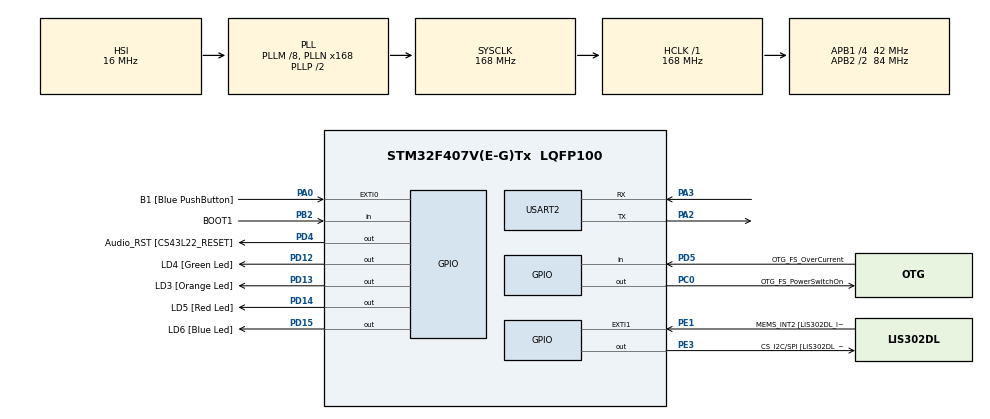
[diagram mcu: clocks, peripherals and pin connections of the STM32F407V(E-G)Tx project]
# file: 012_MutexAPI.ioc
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Mcu.Family=STM32F4
Mcu.Name=STM32F407V(E-G)Tx
Mcu.Package=LQFP100
NVIC.PriorityGroup=NVIC_PRIORITYGROUP_4
NVIC.TIM6_DAC_IRQn=true\:0\:0\:false\:false\:true\:false\:true\:true
NVIC.TimeBase=TIM6_DAC_IRQn
NVIC.TimeBaseIP=TIM6
NVIC.USART2_IRQn=true\:0\:0\:false\:false\:true\:true\:true\:true
PA0-WKUP.GPIO_Label=B1 [Blue PushButton]
PA0-WKUP.Signal=GPXTI0
PA10.GPIO_Label=OTG_FS_ID
PA10.GPIO_Mode=GPIO_MODE_AF_PP
PA10.GPIO_PuPd=GPIO_NOPULL
PA10.GPIO_Speed=GPIO_SPEED_FREQ_LOW
PA10.Signal=USB_OTG_FS_ID
PA11.GPIO_Label=OTG_FS_DM
PA11.GPIO_Mode=GPIO_MODE_AF_PP
PA11.GPIO_PuPd=GPIO_NOPULL
PA11.GPIO_Speed=GPIO_SPEED_FREQ_LOW
PA11.Signal=USB_OTG_FS_DM
PA12.GPIO_Label=OTG_FS_DP
PA12.GPIO_Mode=GPIO_MODE_AF_PP
PA12.GPIO_PuPd=GPIO_NOPULL
PA12.GPIO_Speed=GPIO_SPEED_FREQ_LOW
PA12.Signal=USB_OTG_FS_DP
PA13.GPIO_Label=SWDIO
PA13.Signal=SYS_JTMS-SWDIO
PA14.GPIO_Label=SWCLK
PA14.Signal=SYS_JTCK-SWCLK
PA2.Mode=Asynchronous
PA2.Signal=USART2_TX
PA3.Mode=Asynchronous
PA3.Signal=USART2_RX
PA4.GPIO_Label=I2S3_WS [CS43L22_LRCK]
PA4.GPIO_Mode=GPIO_MODE_AF_PP
PA4.GPIO_PuPd=GPIO_NOPULL
PA4.GPIO_Speed=GPIO_SPEED_FREQ_LOW
PA4.Signal=I2S3_WS
PA5.GPIO_Label=SPI1_SCK [LIS302DL_SCL/SPC]
PA5.GPIO_Mode=GPIO_MODE_AF_PP
PA5.GPIO_PuPd=GPIO_NOPULL
PA5.GPIO_Speed=GPIO_SPEED_FREQ_LOW
PA5.Signal=SPI1_SCK
PA6.GPIO_Label=SPI1_MISO [LIS302DL_SDO]
PA6.GPIO_Mode=GPIO_MODE_AF_PP
PA6.GPIO_PuPd=GPIO_NOPULL
PA6.GPIO_Speed=GPIO_SPEED_FREQ_LOW
PA6.Signal=SPI1_MISO
PA7.GPIO_Label=SPI1_MOSI [LIS302DL_SDA/SDI/SDO]
PA7.GPIO_Mode=GPIO_MODE_AF_PP
PA7.GPIO_PuPd=GPIO_NOPULL
PA7.GPIO_Speed=GPIO_SPEED_FREQ_LOW
PA7.Signal=SPI1_MOSI
PA9.GPIO_Label=VBUS_FS
PA9.GPIO_Mode=GPIO_MODE_INPUT
PA9.GPIO_PuPd=GPIO_NOPULL
PA9.Signal=USB_OTG_FS_VBUS
PB10.GPIO_Label=CLK_IN [MP45DT02_CLK]
PB10.GPIO_Mode=GPIO_MODE_AF_PP
PB10.GPIO_PuPd=GPIO_NOPULL
PB10.GPIO_Speed=GPIO_SPEED_FREQ_LOW
PB10.Signal=I2S2_CK
PB2.GPIO_Label=BOOT1
PB2.GPIO_Mode=GPIO_MODE_INPUT
PB2.GPIO_PuPd=GPIO_NOPULL
PB2.Signal=GPIO_Input
PB3.GPIO_Label=SWO
PB3.Signal=SYS_JTDO-SWO
PB6.GPIO_Label=Audio_SCL [CS43L22_SCL]
PB6.GPIO_Mode=GPIO_MODE_AF_OD
PB6.GPIO_PuPd=GPIO_NOPULL
PB6.GPIO_Speed=GPIO_SPEED_FREQ_LOW
PB6.Signal=I2C1_SCL
PB9.GPIO_Label=Audio_SDA [CS43L22_SDA]
PB9.GPIO_Mode=GPIO_MODE_AF_OD
PB9.GPIO_PuPd=GPIO_NOPULL
PB9.GPIO_Speed=GPIO_SPEED_FREQ_LOW
PB9.Signal=I2C1_SDA
PC0.GPIO_Label=OTG_FS_PowerSwitchOn
PC0.GPIO_PuPd=GPIO_NOPULL
PC0.GPIO_Speed=GPIO_SPEED_FREQ_LOW
PC0.PinState=GPIO_PIN_SET
PC0.Signal=GPIO_Output
PC10.GPIO_Label=I2S3_SCK [CS43L22_SCLK]
PC10.GPIO_Mode=GPIO_MODE_AF_PP
PC10.GPIO_PuPd=GPIO_NOPULL
PC10.GPIO_Speed=GPIO_SPEED_FREQ_LOW
PC10.Signal=I2S3_CK
PC12.GPIO_Label=I2S3_SD [CS43L22_SDIN]
PC12.GPIO_Mode=GPIO_MODE_AF_PP
PC12.GPIO_PuPd=GPIO_NOPULL
PC12.GPIO_Speed=GPIO_SPEED_FREQ_LOW
PC12.Signal=I2S3_SD
PC14-OSC32_IN.GPIO_Label=PC14-OSC32_IN
PC14-OSC32_IN.Signal=RCC_OSC32_IN
PC15-OSC32_OUT.GPIO_Label=PC15-OSC32_OUT
PC15-OSC32_OUT.Signal=RCC_OSC32_OUT
PC3.GPIO_Label=PDM_OUT [MP45DT02_DOUT]
PC3.GPIO_Mode=GPIO_MODE_AF_PP
PC3.GPIO_PuPd=GPIO_NOPULL
PC3.GPIO_Speed=GPIO_SPEED_FREQ_LOW
PC3.Signal=I2S2_SD
PC7.GPIO_Label=I2S3_MCK [CS43L22_MCLK]
PC7.GPIO_Mode=GPIO_MODE_AF_PP
PC7.GPIO_PuPd=GPIO_NOPULL
PC7.GPIO_Speed=GPIO_SPEED_FREQ_LOW
PC7.Signal=I2S3_MCK
PD12.GPIO_Label=LD4 [Green Led]
PD12.GPIO_PuPd=GPIO_NOPULL
PD12.GPIO_Speed=GPIO_SPEED_FREQ_LOW
PD12.Signal=GPIO_Output
PD13.GPIO_Label=LD3 [Orange Led]
PD13.GPIO_PuPd=GPIO_NOPULL
PD13.GPIO_Speed=GPIO_SPEED_FREQ_LOW
PD13.Signal=GPIO_Output
PD14.GPIO_Label=LD5 [Red Led]
PD14.GPIO_PuPd=GPIO_NOPULL
PD14.GPIO_Speed=GPIO_SPEED_FREQ_LOW
PD14.Signal=GPIO_Output
PD15.GPIO_Label=LD6 [Blue Led]
PD15.GPIO_PuPd=GPIO_NOPULL
PD15.GPIO_Speed=GPIO_SPEED_FREQ_LOW
PD15.Signal=GPIO_Output
PD4.GPIO_Label=Audio_RST [CS43L22_RESET]
PD4.GPIO_PuPd=GPIO_NOPULL
PD4.GPIO_Speed=GPIO_SPEED_FREQ_LOW
PD4.Signal=GPIO_Output
PD5.GPIO_Label=OTG_FS_OverCurrent
PD5.GPIO_Mode=GPIO_MODE_INPUT
PD5.GPIO_PuPd=GPIO_NOPULL
PD5.Signal=GPIO_Input
PE1.GPIO_Label=MEMS_INT2 [LIS302DL_INT2]
PE1.GPIO_ModeDefaultEXTI=GPIO_MODE_EVT_RISING
PE1.GPIO_PuPd=GPIO_NOPULL
PE1.Signal=GPXTI1
PE3.GPIO_Label=CS_I2C/SPI [LIS302DL_CS_I2C/SPI]
PE3.GPIO_PuPd=GPIO_NOPULL
PE3.GPIO_Speed=GPIO_SPEED_FREQ_LOW
PE3.Signal=GPIO_Output
PH0-OSC_IN.GPIO_Label=PH0-OSC_IN
PH0-OSC_IN.Signal=RCC_OSC_IN
PH1-OSC_OUT.GPIO_Label=PH1-OSC_OUT
PH1-OSC_OUT.Signal=RCC_OSC_OUT
ProjectManager.HeapSize=0x200
ProjectManager.StackSize=0x400
ProjectManager.TargetToolchain=STM32CubeIDE
RCC.48MHZClocksFreq_Value=48000000
RCC.AHBFreq_Value=168000000
RCC.APB1CLKDivider=RCC_HCLK_DIV4
RCC.APB1Freq_Value=42000000
RCC.APB1TimFreq_Value=84000000
RCC.APB2CLKDivider=RCC_HCLK_DIV2
RCC.APB2Freq_Value=84000000
RCC.APB2TimFreq_Value=168000000
RCC.CortexFreq_Value=168000000
RCC.HCLKFreq_Value=168000000
RCC.HSE_VALUE=8000000
RCC.HSI_VALUE=16000000
RCC.LSE_VALUE=32768
RCC.PLLM=8
RCC.PLLN=168
RCC.PLLQ=7
RCC.SYSCLKFreq_VALUE=168000000
RCC.SYSCLKSource=RCC_SYSCLKSOURCE_PLLCLK
RCC.VCOOutputFreq_Value=336000000
USART2.VirtualMode=VM_ASYNC
VP_SYS_VS_tim6.Mode=TIM6
board=STM32F407G-DISC1

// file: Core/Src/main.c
/* USER CODE BEGIN Header */
/**
  ******************************************************************************
  * @file           : main.c
  * @brief          : Main program body
  ******************************************************************************
  * @attention
  *
  * Copyright (c) 2024 STMicroelectronics.
  * All rights reserved.
  *
  * This software is licensed under terms that can be found in the LICENSE file
  * in the root directory of this software component.
  * If no LICENSE file comes with this software, it is provided AS-IS.
  *
  ******************************************************************************
  */
/* USER CODE END Header */
#include "main.h"

/* USER CODE BEGIN PTD */
#define USE_MUTEX
/* USER CODE END PTD */

UART_HandleTypeDef huart2;

void SystemClock_Config(void);
static void MX_GPIO_Init(void);
static void MX_USART2_UART_Init(void);

/* USER CODE BEGIN 0 */
/* Dimensions the buffer into which messages destined for stdout are placed. */
#define mainMAX_MSG_LEN	(80)

/* The task to be created.  Two instances of this task are created. */
static void prvPrintTask(void *pvParameters);

#ifdef USE_MUTEX
SemaphoreHandle_t xMutex;
#endif

TaskHandle_t handle_task1 = NULL;
TaskHandle_t handle_task2 = NULL;

char usr_msg[250];
/* USER CODE END 0 */

int main(void)
{

  /* USER CODE BEGIN 1 */
	BaseType_t status;
  /* USER CODE END 1 */

  /* MCU Configuration--------------------------------------------------------*/

  /* Reset of all peripherals, Initializes the Flash interface and the Systick. */
  HAL_Init();

  /* Configure the system clock */
  SystemClock_Config();

  /* Initialize all configured peripherals */
  MX_GPIO_Init();
  MX_USART2_UART_Init();
  /* USER CODE BEGIN 2 */
	sprintf(usr_msg, "Demo of mutual exclusion using binary semaphore\r\n");
	HAL_UART_Transmit(&huart2, (uint8_t*)usr_msg, strlen(usr_msg), HAL_MAX_DELAY);

#ifdef USE_MUTEX
	/* Before a semaphore is used it must be explicitly created.  In this example
	a mutex type semaphore is created. */
	xMutex = xSemaphoreCreateMutex();
#endif

	/* The tasks are going to use a pseudo random delay, seed the random number
	generator. */
	srand(567);

#ifdef USE_MUTEX
	if(xMutex != NULL)
	{
#endif

		status = xTaskCreate(prvPrintTask, "Print1", 240, "Task 1 ***********************\r\n", 1, NULL);
		configASSERT(status == pdPASS);

		status = xTaskCreate(prvPrintTask, "Print2", 240, "Task 2 ------------------------\r\n", 2, NULL);
		configASSERT(status == pdPASS);

#ifdef USE_MUTEX
		xSemaphoreGive(xMutex);
#endif

		vTaskStartScheduler();

#ifdef USE_MUTEX
	}else
	{
		sprintf(usr_msg, "binary semaphore creation failed\r\n");
		HAL_UART_Transmit(&huart2, (uint8_t*)usr_msg, strlen(usr_msg), HAL_MAX_DELAY);
	}
#endif
  /* USER CODE END 2 */

  /* Infinite loop */
  while (1)
  {

  }
}

void SystemClock_Config(void)
{
  RCC_OscInitTypeDef RCC_OscInitStruct = {0};
  RCC_ClkInitTypeDef RCC_ClkInitStruct = {0};

  /** Configure the main internal regulator output voltage
  */
  __HAL_RCC_PWR_CLK_ENABLE();
  __HAL_PWR_VOLTAGESCALING_CONFIG(PWR_REGULATOR_VOLTAGE_SCALE1);

  /** Initializes the RCC Oscillators according to the specified parameters
  * in the RCC_OscInitTypeDef structure.
  */
  RCC_OscInitStruct.OscillatorType = RCC_OSCILLATORTYPE_HSI;
  RCC_OscInitStruct.HSIState = RCC_HSI_ON;
  RCC_OscInitStruct.HSICalibrationValue = RCC_HSICALIBRATION_DEFAULT;
  RCC_OscInitStruct.PLL.PLLState = RCC_PLL_ON;
  RCC_OscInitStruct.PLL.PLLSource = RCC_PLLSOURCE_HSI;
  RCC_OscInitStruct.PLL.PLLM = 8;
  RCC_OscInitStruct.PLL.PLLN = 168;
  RCC_OscInitStruct.PLL.PLLP = RCC_PLLP_DIV2;
  RCC_OscInitStruct.PLL.PLLQ = 7;
  if (HAL_RCC_OscConfig(&RCC_OscInitStruct) != HAL_OK)
  {
    Error_Handler();
  }

  /** Initializes the CPU, AHB and APB buses clocks
  */
  RCC_ClkInitStruct.ClockType = RCC_CLOCKTYPE_HCLK|RCC_CLOCKTYPE_SYSCLK
                              |RCC_CLOCKTYPE_PCLK1|RCC_CLOCKTYPE_PCLK2;
  RCC_ClkInitStruct.SYSCLKSource = RCC_SYSCLKSOURCE_PLLCLK;
  RCC_ClkInitStruct.AHBCLKDivider = RCC_SYSCLK_DIV1;
  RCC_ClkInitStruct.APB1CLKDivider = RCC_HCLK_DIV4;
  RCC_ClkInitStruct.APB2CLKDivider = RCC_HCLK_DIV2;

  if (HAL_RCC_ClockConfig(&RCC_ClkInitStruct, FLASH_LATENCY_5) != HAL_OK)
  {
    Error_Handler();
  }
}

static void MX_USART2_UART_Init(void)
{

  huart2.Instance = USART2;
  huart2.Init.BaudRate = 115200;
  huart2.Init.WordLength = UART_WORDLENGTH_8B;
  huart2.Init.StopBits = UART_STOPBITS_1;
  huart2.Init.Parity = UART_PARITY_NONE;
  huart2.Init.Mode = UART_MODE_TX_RX;
  huart2.Init.HwFlowCtl = UART_HWCONTROL_NONE;
  huart2.Init.OverSampling = UART_OVERSAMPLING_16;
  if (HAL_UART_Init(&huart2) != HAL_OK)
  {
    Error_Handler();
  }

}

static void MX_GPIO_Init(void)
{
  GPIO_InitTypeDef GPIO_InitStruct = {0};

  /* GPIO Ports Clock Enable */
  __HAL_RCC_GPIOE_CLK_ENABLE();
  __HAL_RCC_GPIOC_CLK_ENABLE();
  __HAL_RCC_GPIOH_CLK_ENABLE();
  __HAL_RCC_GPIOA_CLK_ENABLE();
  __HAL_RCC_GPIOB_CLK_ENABLE();
  __HAL_RCC_GPIOD_CLK_ENABLE();

  /*Configure GPIO pin Output Level */
  HAL_GPIO_WritePin(CS_I2C_SPI_GPIO_Port, CS_I2C_SPI_Pin, GPIO_PIN_RESET);

  /*Configure GPIO pin Output Level */
  HAL_GPIO_WritePin(OTG_FS_PowerSwitchOn_GPIO_Port, OTG_FS_PowerSwitchOn_Pin, GPIO_PIN_SET);

  /*Configure GPIO pin Output Level */
  HAL_GPIO_WritePin(GPIOD, LD4_Pin|LD3_Pin|LD5_Pin|LD6_Pin
                          |Audio_RST_Pin, GPIO_PIN_RESET);

  /*Configure GPIO pin : CS_I2C_SPI_Pin */
  GPIO_InitStruct.Pin = CS_I2C_SPI_Pin;
  GPIO_InitStruct.Mode = GPIO_MODE_OUTPUT_PP;
  GPIO_InitStruct.Pull = GPIO_NOPULL;
  GPIO_InitStruct.Speed = GPIO_SPEED_FREQ_LOW;
  HAL_GPIO_Init(CS_I2C_SPI_GPIO_Port, &GPIO_InitStruct);

  /*Configure GPIO pin : OTG_FS_PowerSwitchOn_Pin */
  GPIO_InitStruct.Pin = OTG_FS_PowerSwitchOn_Pin;
  GPIO_InitStruct.Mode = GPIO_MODE_OUTPUT_PP;
  GPIO_InitStruct.Pull = GPIO_NOPULL;
  GPIO_InitStruct.Speed = GPIO_SPEED_FREQ_LOW;
  HAL_GPIO_Init(OTG_FS_PowerSwitchOn_GPIO_Port, &GPIO_InitStruct);

  /*Configure GPIO pin : PDM_OUT_Pin */
  GPIO_InitStruct.Pin = PDM_OUT_Pin;
  GPIO_InitStruct.Mode = GPIO_MODE_AF_PP;
  GPIO_InitStruct.Pull = GPIO_NOPULL;
  GPIO_InitStruct.Speed = GPIO_SPEED_FREQ_LOW;
  GPIO_InitStruct.Alternate = GPIO_AF5_SPI2;
  HAL_GPIO_Init(PDM_OUT_GPIO_Port, &GPIO_InitStruct);

  /*Configure GPIO pin : B1_Pin */
  GPIO_InitStruct.Pin = B1_Pin;
  GPIO_InitStruct.Mode = GPIO_MODE_IT_RISING;
  GPIO_InitStruct.Pull = GPIO_NOPULL;
  HAL_GPIO_Init(B1_GPIO_Port, &GPIO_InitStruct);

  /*Configure GPIO pin : I2S3_WS_Pin */
  GPIO_InitStruct.Pin = I2S3_WS_Pin;
  GPIO_InitStruct.Mode = GPIO_MODE_AF_PP;
  GPIO_InitStruct.Pull = GPIO_NOPULL;
  GPIO_InitStruct.Speed = GPIO_SPEED_FREQ_LOW;
  GPIO_InitStruct.Alternate = GPIO_AF6_SPI3;
  HAL_GPIO_Init(I2S3_WS_GPIO_Port, &GPIO_InitStruct);

  /*Configure GPIO pins : SPI1_SCK_Pin SPI1_MISO_Pin SPI1_MOSI_Pin */
  GPIO_InitStruct.Pin = SPI1_SCK_Pin|SPI1_MISO_Pin|SPI1_MOSI_Pin;
  GPIO_InitStruct.Mode = GPIO_MODE_AF_PP;
  GPIO_InitStruct.Pull = GPIO_NOPULL;
  GPIO_InitStruct.Speed = GPIO_SPEED_FREQ_LOW;
  GPIO_InitStruct.Alternate = GPIO_AF5_SPI1;
  HAL_GPIO_Init(GPIOA, &GPIO_InitStruct);

  /*Configure GPIO pin : BOOT1_Pin */
  GPIO_InitStruct.Pin = BOOT1_Pin;
  GPIO_InitStruct.Mode = GPIO_MODE_INPUT;
  GPIO_InitStruct.Pull = GPIO_NOPULL;
  HAL_GPIO_Init(BOOT1_GPIO_Port, &GPIO_InitStruct);

  /*Configure GPIO pin : CLK_IN_Pin */
  GPIO_InitStruct.Pin = CLK_IN_Pin;
  GPIO_InitStruct.Mode = GPIO_MODE_AF_PP;
  GPIO_InitStruct.Pull = GPIO_NOPULL;
  GPIO_InitStruct.Speed = GPIO_SPEED_FREQ_LOW;
  GPIO_InitStruct.Alternate = GPIO_AF5_SPI2;
  HAL_GPIO_Init(CLK_IN_GPIO_Port, &GPIO_InitStruct);

  /*Configure GPIO pins : LD4_Pin LD3_Pin LD5_Pin LD6_Pin
                           Audio_RST_Pin */
  GPIO_InitStruct.Pin = LD4_Pin|LD3_Pin|LD5_Pin|LD6_Pin
                          |Audio_RST_Pin;
  GPIO_InitStruct.Mode = GPIO_MODE_OUTPUT_PP;
  GPIO_InitStruct.Pull = GPIO_NOPULL;
  GPIO_InitStruct.Speed = GPIO_SPEED_FREQ_LOW;
  HAL_GPIO_Init(GPIOD, &GPIO_InitStruct);

  /*Configure GPIO pins : I2S3_MCK_Pin I2S3_SCK_Pin I2S3_SD_Pin */
  GPIO_InitStruct.Pin = I2S3_MCK_Pin|I2S3_SCK_Pin|I2S3_SD_Pin;
  GPIO_InitStruct.Mode = GPIO_MODE_AF_PP;
  GPIO_InitStruct.Pull = GPIO_NOPULL;
  GPIO_InitStruct.Speed = GPIO_SPEED_FREQ_LOW;
  GPIO_InitStruct.Alternate = GPIO_AF6_SPI3;
  HAL_GPIO_Init(GPIOC, &GPIO_InitStruct);

  /*Configure GPIO pin : VBUS_FS_Pin */
  GPIO_InitStruct.Pin = VBUS_FS_Pin;
  GPIO_InitStruct.Mode = GPIO_MODE_INPUT;
  GPIO_InitStruct.Pull = GPIO_NOPULL;
  HAL_GPIO_Init(VBUS_FS_GPIO_Port, &GPIO_InitStruct);

  /*Configure GPIO pins : OTG_FS_ID_Pin OTG_FS_DM_Pin OTG_FS_DP_Pin */
  GPIO_InitStruct.Pin = OTG_FS_ID_Pin|OTG_FS_DM_Pin|OTG_FS_DP_Pin;
  GPIO_InitStruct.Mode = GPIO_MODE_AF_PP;
  GPIO_InitStruct.Pull = GPIO_NOPULL;
  GPIO_InitStruct.Speed = GPIO_SPEED_FREQ_LOW;
  GPIO_InitStruct.Alternate = GPIO_AF10_OTG_FS;
  HAL_GPIO_Init(GPIOA, &GPIO_InitStruct);

  /*Configure GPIO pin : OTG_FS_OverCurrent_Pin */
  GPIO_InitStruct.Pin = OTG_FS_OverCurrent_Pin;
  GPIO_InitStruct.Mode = GPIO_MODE_INPUT;
  GPIO_InitStruct.Pull = GPIO_NOPULL;
  HAL_GPIO_Init(OTG_FS_OverCurrent_GPIO_Port, &GPIO_InitStruct);

  /*Configure GPIO pins : Audio_SCL_Pin Audio_SDA_Pin */
  GPIO_InitStruct.Pin = Audio_SCL_Pin|Audio_SDA_Pin;
  GPIO_InitStruct.Mode = GPIO_MODE_AF_OD;
  GPIO_InitStruct.Pull = GPIO_NOPULL;
  GPIO_InitStruct.Speed = GPIO_SPEED_FREQ_LOW;
  GPIO_InitStruct.Alternate = GPIO_AF4_I2C1;
  HAL_GPIO_Init(GPIOB, &GPIO_InitStruct);

  /*Configure GPIO pin : MEMS_INT2_Pin */
  GPIO_InitStruct.Pin = MEMS_INT2_Pin;
  GPIO_InitStruct.Mode = GPIO_MODE_EVT_RISING;
  GPIO_InitStruct.Pull = GPIO_NOPULL;
  HAL_GPIO_Init(MEMS_INT2_GPIO_Port, &GPIO_InitStruct);

}

/* USER CODE BEGIN 4 */
static void prvPrintTask(void *pvParameters)
{
	char *pcStringToPrint;

	/* Two instances of this task are created so the string the task will send
	to prvNewPrintString() is passed in the task parameter.  Cast this to the
	required type. */
	pcStringToPrint = (char*)pvParameters;

	for( ;; )
	{
		/* Print out the string using the newly defined function. */
		static char cBuffer[mainMAX_MSG_LEN];

#ifdef USE_MUTEX
			/* The semaphore is created before the scheduler is started so already
			exists by the time this task executes.

			Attempt to take the semaphore, blocking indefinitely if the mutex is not
			available immediately.  The call to xSemaphoreTake() will only return when
			the semaphore has been successfully obtained so there is no need to check the
			return value.  If any other delay period was used then the code must check
			that xSemaphoreTake() returns pdTRUE before accessing the resource (in this
			case standard out. */
			xSemaphoreTake( xMutex, portMAX_DELAY );
			{
#endif
				/* The following line will only execute once the semaphore has been
				successfully obtained - so standard out can be accessed freely. */
				sprintf(cBuffer, "%s", pcStringToPrint);
				HAL_UART_Transmit(&huart2, (uint8_t*)cBuffer, strlen(cBuffer), HAL_MAX_DELAY);
#ifdef USE_MUTEX
			}
			xSemaphoreGive( xMutex );
#endif
		/* Wait a pseudo random time.  Note that rand() is not necessarily
		re-entrant, but in this case it does not really matter as the code does
		not care what value is returned.  In a more secure application a version
		of rand() that is known to be re-entrant should be used - or calls to
		rand() should be protected using a critical section. */
		vTaskDelay( rand() & 0XF );
	}
}
/* USER CODE END 4 */

void HAL_TIM_PeriodElapsedCallback(TIM_HandleTypeDef *htim)
{
  if (htim->Instance == TIM6) {
    HAL_IncTick();
  }
}

void Error_Handler(void)
{
  __disable_irq();
  while (1)
  {
  }
}
